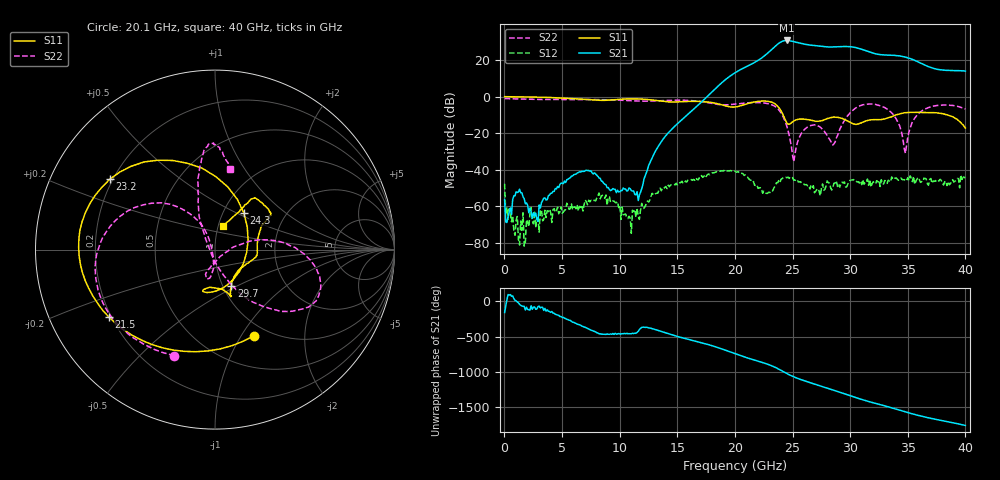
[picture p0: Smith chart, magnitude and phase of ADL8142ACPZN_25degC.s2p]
! Analog Devices, Inc.
! Device:	ADL8142ACPZN
! Description:	"GaAs, pHEMT, MMIC, Low Noise Amplifier, 23 GHz to 31 GHz"
! Conditions:	Vdd = 2V
!	Rbias = 634 Ohms
!	IDQ = 25 mA
!	Pin = -30 dBm
!	Operating Temperature = +25 degC (at package bottom)
! Board loss de-embedded from S21 magnitude.  All other RF measurements reference to RF coaxial connector.
! Frequency (GHz)	S11_Mag (dB)	S11_Phase (deg)	S21_Mag (dB)	S21_Phase (deg)	S12_Mag (dB)	S12_Phase (deg)	S22_Mag (dB)	S22_Phase (deg)
#  GHZ  S  DB  R 50
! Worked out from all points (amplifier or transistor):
!   401 points, 10 MHz to 40 GHz, reference 50 ohm
!   highest |S21| = 30.8 dB at 24.5 GHz (marker M1)
!   |S21| within 3 dB of that: 23.51 GHz to 27.22 GHz (3.706 GHz wide, 14.6 % of centre)
!   unconditionally stable (mu >= 1): 104.1 MHz to end of sweep
!   at 6.608 GHz: K = 4801.81, MAG = -30.1 dB, |S12| = -60.6 dB
!   at 20 GHz: K = 5.63, MAG = 16.5 dB, |S12| = -40.8 dB
!   at 40 GHz: K = 12.35, MAG = 15.2 dB, |S12| = -44.1 dB
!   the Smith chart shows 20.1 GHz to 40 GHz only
!   S11 on the Smith chart (normalised r, x): 20.1 GHz: 0.86, -1.14; 21.5 GHz: 0.19, -0.28; 23.2 GHz: 0.19, +0.29; 24.3 GHz: 1.25, +0.55; 29.7 GHz: 1.10, -0.47; 40 GHz: 1.05, +0.28
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0.01  0.01 -0.3  -56.24 -157.2  -47.64 -35.2  -1.00 -178.8
6.708325  -1.37 124.3  -40.94 10.0  -59.30 -21.8  -1.52 -22.4
13.40665  -2.26 -103.4  -26.58 -55.9  -51.10 -92.7  -2.21 115.9
20.10497  -5.55 -65.4  13.48 -30.7  -41.36 -4.3  -3.97 -111.0
21.50462  -3.09 -147.5  18.09 -106.7  -46.82 -65.1  -3.22 -149.9
22.50437  -2.38 175.6  22.09 -156.6  -51.77 -64.2  -3.45 -172.7
23.2042  -3.03 146.3  26.00 162.1  -52.43 -41.5  -4.45 167.6
23.70407  -5.21 115.3  28.76 124.0  -47.14 -39.1  -6.51 148.2
24.30393  -11.71 51.8  30.71 70.4  -44.25 -73.9  -12.77 123.7
24.50388  -14.33 16.1  30.80 52.3  -44.37 -82.1  -16.23 118.2
24.90377  -14.30 -56.5  30.45 19.9  -44.55 -100.8  -27.52 127.9
25.30367  -12.71 -89.2  29.84 -7.9  -46.08 -116.0  -28.05 -105.6
26.0035  -12.29 -106.1  28.80 -49.4  -47.98 -139.7  -18.20 -96.3
26.70333  -13.03 -103.5  28.15 -87.3  -49.61 -149.1  -15.65 -102.6
28.20295  -11.65 -72.4  27.23 -167.3  -47.38 -143.8  -23.27 -88.7
29.70257  -13.08 -65.7  27.48 113.5  -49.38 167.5  -11.05 11.2
30.4024  -15.08 -46.0  27.01 74.7  -46.25 148.9  -6.54 -0.8
31.30217  -13.48 -16.7  25.31 27.8  -46.92 116.1  -4.19 -17.6
33.40165  -11.39 22.3  22.75 -66.9  -46.22 79.1  -7.71 -50.0
35.40115  -8.66 34.6  20.43 -162.5  -46.51 -16.3  -13.81 115.7
37.10072  -8.73 50.7  15.78 130.3  -47.41 -67.9  -5.35 96.9
40  -17.15 72.3  14.05 32.1  -44.11 -148.0  -6.78 79.4
